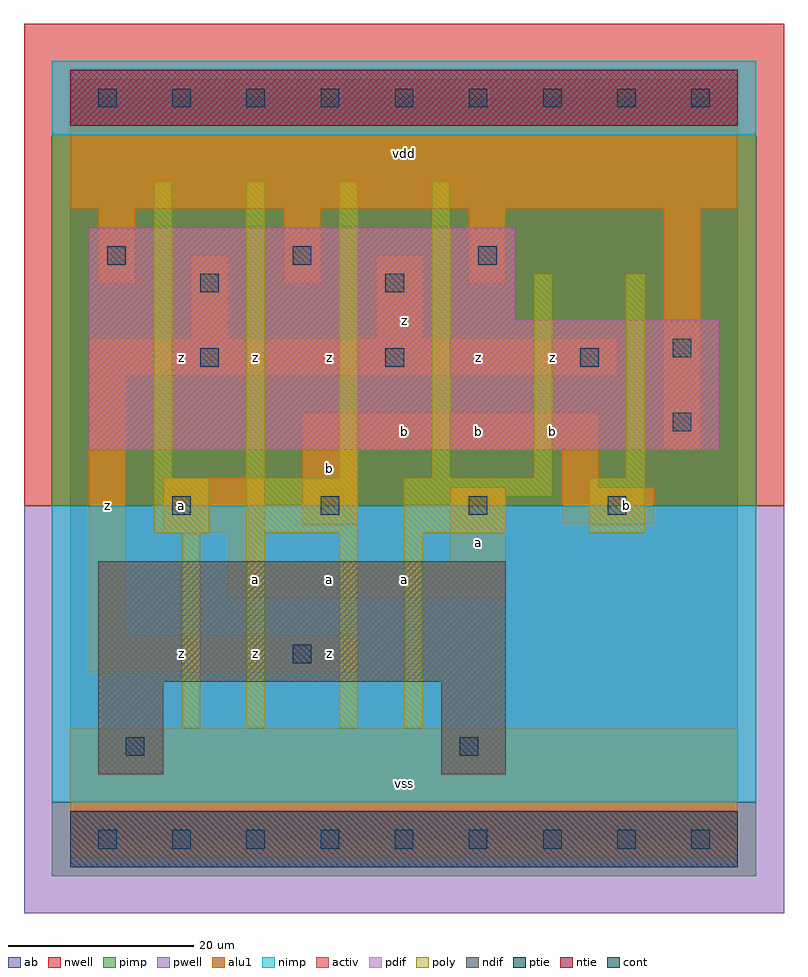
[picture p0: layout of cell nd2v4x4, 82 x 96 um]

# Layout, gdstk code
import gdstk
lib = gdstk.Library(unit=1e-6, precision=1e-09)
def R(c, l, rs):  # rectangles x0, y0, x1, y1
    for r in rs: c.add(gdstk.rectangle(r[:2], r[2:], *l))
def A(c, l, x, y, w, h, nx, ny, dx, dy):  # array of equal rectangles
    R(c, l, [(x+i*dx, y+j*dy, x+i*dx+w, y+j*dy+h) for i in range(nx) for j in range(ny)])
ndif = (3, 0)
pdif = (4, 0)
ntie = (5, 0)
ptie = (6, 0)
cont = (25, 0)
pwell = (41, 0)
nwell = (42, 0)
activ = (43, 0)
pimp = (44, 0)
nimp = (45, 0)
poly = (46, 0)
alu1 = (49, 0)
ab = (63, 0)

nd2v4x4 = lib.new_cell('nd2v4x4')
R(nd2v4x4, ndif, [(3,7,10,17), (40,7,47,17), (3,17,47,30)])
R(nd2v4x4, pdif, [(2,42,70,56), (2,56,48,66)])
R(nd2v4x4, ntie, [(0,77,72,83)])
R(nd2v4x4, ptie, [(0,-3,72,3)])
A(nd2v4x4, cont, 3, -1, 2, 2, 9, 2, 8, 80)
A(nd2v4x4, cont, 11, 35, 2, 2, 3, 1, 16, 0)
A(nd2v4x4, cont, 4, 62, 2, 2, 3, 1, 20, 0)
R(nd2v4x4, cont, [(6,9,8,11), (42,9,44,11), (24,19,26,21), (58,35,60,37), (65,44,67,46), (14,51,16,53), (34,51,36,53), (55,51,57,53), (65,52,67,54), (14,59,16,61), (34,59,36,61)])
R(nd2v4x4, pwell, [(-5,-8,77,36)])
R(nd2v4x4, nwell, [(-5,36,77,88)])
R(nd2v4x4, activ, [(0,-3,72,3), (3,7,10,17), (40,7,47,17), (3,17,47,30), (2,42,70,56), (2,56,48,66), (0,77,72,83)])
R(nd2v4x4, pimp, [(-2,-4,74,4), (-2,36,74,76)])
R(nd2v4x4, nimp, [(-2,4,74,36), (-2,76,74,84)])
A(nd2v4x4, poly, 9, 39, 2, 32, 4, 1, 10, 0)
R(nd2v4x4, poly, [(12,12,14,33), (19,12,21,33), (29,12,31,33), (36,12,38,33), (9,33,15,39), (19,33,31,39), (36,33,47,37), (56,33,62,39), (36,37,52,39), (50,39,52,61), (60,39,62,61)])
A(nd2v4x4, alu1, 3, 60, 4, 8, 3, 1, 20, 0)
R(nd2v4x4, alu1, [(0,-2,72,12), (2,18,31,22), (2,22,6,50), (17,26,47,30), (17,30,21,33), (41,30,47,38), (10,33,21,39), (25,34,31,42), (53,34,63,38), (53,38,57,42), (25,42,57,46), (64,42,68,68), (2,50,59,54), (13,54,17,63), (33,54,38,63), (0,68,72,82)])
R(nd2v4x4, ab, [(0,0,72,80)])
nd2v4x4.add(gdstk.Label('z', (12,20), layer=49, texttype=0))
nd2v4x4.add(gdstk.Label('a', (12,36), layer=49, texttype=0))
nd2v4x4.add(gdstk.Label('z', (4,36), layer=49, texttype=0))
nd2v4x4.add(gdstk.Label('z', (12,52), layer=49, texttype=0))
nd2v4x4.add(gdstk.Label('z', (28,20), layer=49, texttype=0))
nd2v4x4.add(gdstk.Label('z', (20,20), layer=49, texttype=0))
nd2v4x4.add(gdstk.Label('a', (20,28), layer=49, texttype=0))
nd2v4x4.add(gdstk.Label('a', (28,28), layer=49, texttype=0))
nd2v4x4.add(gdstk.Label('b', (28,40), layer=49, texttype=0))
nd2v4x4.add(gdstk.Label('z', (20,52), layer=49, texttype=0))
nd2v4x4.add(gdstk.Label('z', (28,52), layer=49, texttype=0))
nd2v4x4.add(gdstk.Label('vss', (36,6), layer=49, texttype=0))
nd2v4x4.add(gdstk.Label('a', (36,28), layer=49, texttype=0))
nd2v4x4.add(gdstk.Label('a', (44,32), layer=49, texttype=0))
nd2v4x4.add(gdstk.Label('b', (44,44), layer=49, texttype=0))
nd2v4x4.add(gdstk.Label('b', (52,44), layer=49, texttype=0))
nd2v4x4.add(gdstk.Label('b', (36,44), layer=49, texttype=0))
nd2v4x4.add(gdstk.Label('z', (36,56), layer=49, texttype=0))
nd2v4x4.add(gdstk.Label('z', (44,52), layer=49, texttype=0))
nd2v4x4.add(gdstk.Label('z', (52,52), layer=49, texttype=0))
nd2v4x4.add(gdstk.Label('vdd', (36,74), layer=49, texttype=0))
nd2v4x4.add(gdstk.Label('b', (60,36), layer=49, texttype=0))

lib.write_gds('nd2v4x4.gds')
